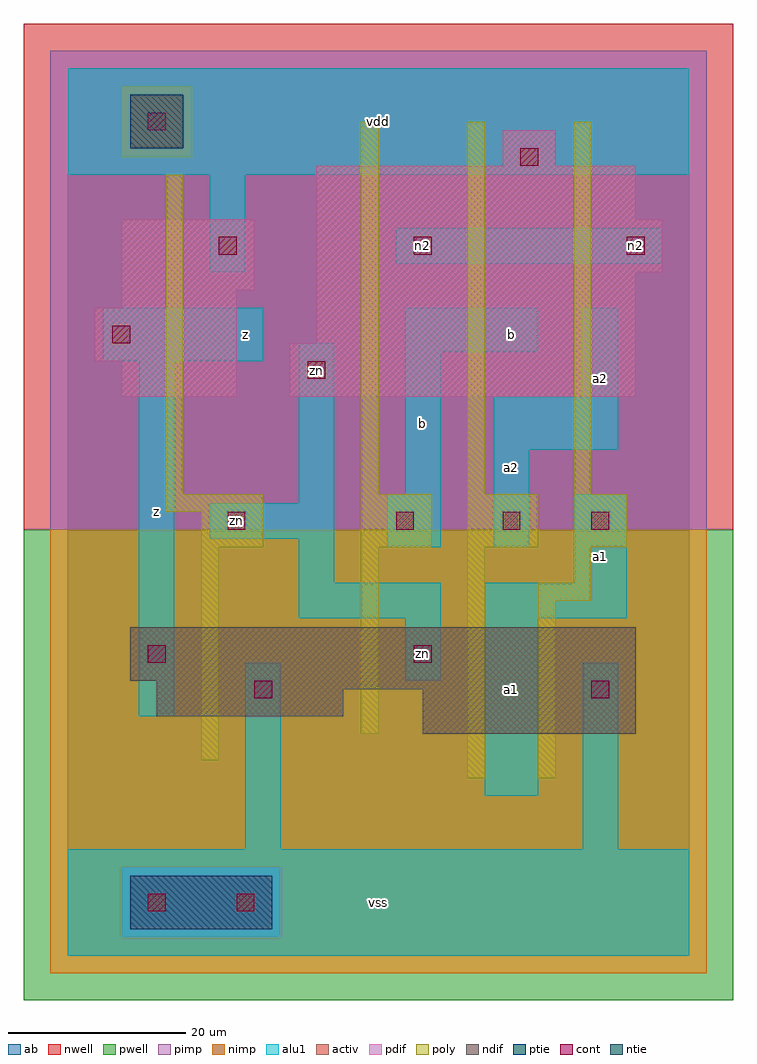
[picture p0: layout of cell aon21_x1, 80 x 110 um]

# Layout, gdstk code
import gdstk
lib = gdstk.Library(unit=1e-6, precision=1e-09)
def R(c, l, rs):  # rectangles x0, y0, x1, y1
    for r in rs: c.add(gdstk.rectangle(r[:2], r[2:], *l))
def A(c, l, x, y, w, h, nx, ny, dx, dy):  # array of equal rectangles
    R(c, l, [(x+i*dx, y+j*dy, x+i*dx+w, y+j*dy+h) for i in range(nx) for j in range(ny)])
ndif = (3, 0)
pdif = (4, 0)
ntie = (5, 0)
ptie = (6, 0)
cont = (25, 0)
pwell = (41, 0)
nwell = (42, 0)
activ = (43, 0)
pimp = (44, 0)
nimp = (45, 0)
poly = (46, 0)
alu1 = (49, 0)
ab = (63, 0)

aon21_x1 = lib.new_cell('aon21_x1')
R(aon21_x1, ndif, [(40,25,64,30), (10,27,31,30), (10,30,64,31), (7,31,64,37)])
R(aon21_x1, pdif, [(6,63,19,67), (25,63,64,69), (3,67,19,73), (28,69,64,77), (6,73,19,75), (6,75,21,83), (28,77,67,83), (28,83,64,89), (49,89,55,93)])
R(aon21_x1, ntie, [(7,91,13,97)])
R(aon21_x1, ptie, [(7,3,23,9)])
R(aon21_x1, cont, [(9,5,11,7), (19,5,21,7), (21,29,23,31), (59,29,61,31), (9,33,11,35), (39,33,41,35), (18,48,20,50), (37,48,39,50), (49,48,51,50), (59,48,61,50), (27,65,29,67), (5,69,7,71), (17,79,19,81), (39,79,41,81), (63,79,65,81), (51,89,53,91), (9,93,11,95)])
R(aon21_x1, pwell, [(-5,-5,75,48)])
R(aon21_x1, nwell, [(-5,48,75,105)])
R(aon21_x1, activ, [(7,3,23,9), (40,25,64,30), (10,27,31,30), (10,30,64,31), (7,31,64,37), (6,63,19,67), (25,63,64,69), (3,67,19,73), (28,69,64,77), (6,73,19,75), (6,75,21,83), (28,77,67,83), (28,83,64,89), (49,89,55,93), (7,91,13,97)])
R(aon21_x1, pimp, [(6,2,24,10), (-2,48,72,90), (-2,90,6,98), (14,90,72,98), (-2,98,72,102)])
R(aon21_x1, nimp, [(-2,-2,72,2), (-2,2,6,10), (24,2,72,10), (-2,10,72,48), (6,90,14,98)])
A(aon21_x1, poly, 33, 52, 2, 42, 3, 1, 12, 0)
R(aon21_x1, poly, [(45,20,47,46), (53,20,55,40), (15,22,17,46), (33,25,35,46), (53,40,59,42), (57,42,59,46), (15,46,22,50), (33,46,41,52), (45,46,53,52), (57,46,63,52), (11,50,22,52), (11,52,13,88)])
R(aon21_x1, alu1, [(0,0,70,12), (20,12,24,33), (58,12,62,33), (47,18,53,38), (8,27,12,67), (38,31,42,38), (26,38,42,42), (47,38,63,42), (26,42,30,47), (57,42,63,52), (36,46,42,52), (48,46,52,57), (16,47,30,51), (26,51,30,69), (38,52,42,68), (48,57,62,63), (58,63,62,73), (4,67,22,73), (38,68,53,73), (16,77,20,88), (37,78,67,82), (0,88,70,100)])
R(aon21_x1, ab, [(0,0,70,100)])
aon21_x1.add(gdstk.Label('zn', (19,49), layer=49, texttype=0))
aon21_x1.add(gdstk.Label('zn', (40,34), layer=49, texttype=0))
aon21_x1.add(gdstk.Label('zn', (28,66), layer=49, texttype=0))
aon21_x1.add(gdstk.Label('n2', (40,80), layer=49, texttype=0))
aon21_x1.add(gdstk.Label('n2', (64,80), layer=49, texttype=0))
aon21_x1.add(gdstk.Label('z', (10,50), layer=49, texttype=0))
aon21_x1.add(gdstk.Label('z', (20,70), layer=49, texttype=0))
aon21_x1.add(gdstk.Label('vss', (35,6), layer=49, texttype=0))
aon21_x1.add(gdstk.Label('a1', (50,30), layer=49, texttype=0))
aon21_x1.add(gdstk.Label('b', (50,70), layer=49, texttype=0))
aon21_x1.add(gdstk.Label('a2', (50,55), layer=49, texttype=0))
aon21_x1.add(gdstk.Label('b', (40,60), layer=49, texttype=0))
aon21_x1.add(gdstk.Label('vdd', (35,94), layer=49, texttype=0))
aon21_x1.add(gdstk.Label('a1', (60,45), layer=49, texttype=0))
aon21_x1.add(gdstk.Label('a2', (60,65), layer=49, texttype=0))

lib.write_gds('aon21_x1.gds')
